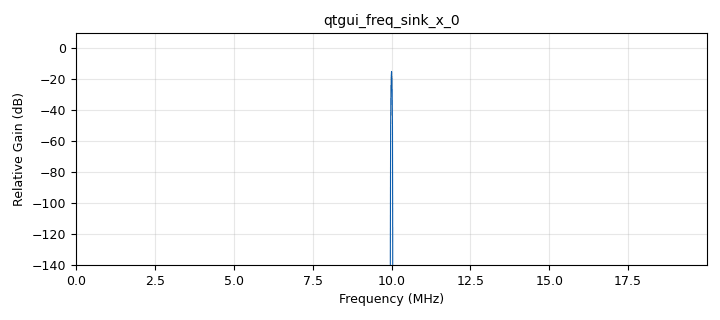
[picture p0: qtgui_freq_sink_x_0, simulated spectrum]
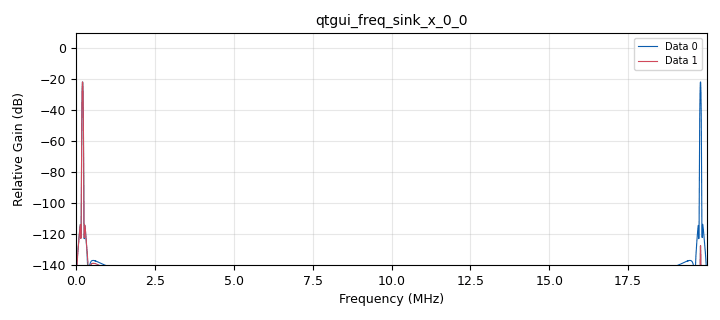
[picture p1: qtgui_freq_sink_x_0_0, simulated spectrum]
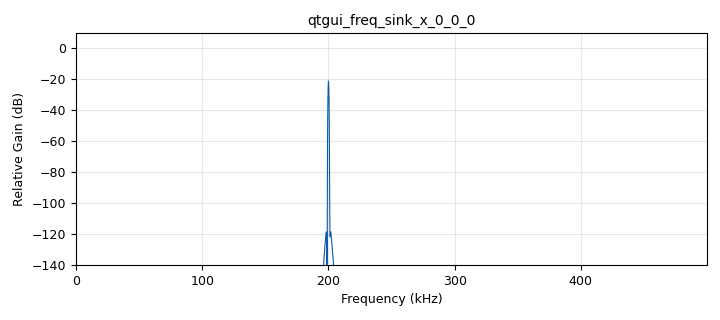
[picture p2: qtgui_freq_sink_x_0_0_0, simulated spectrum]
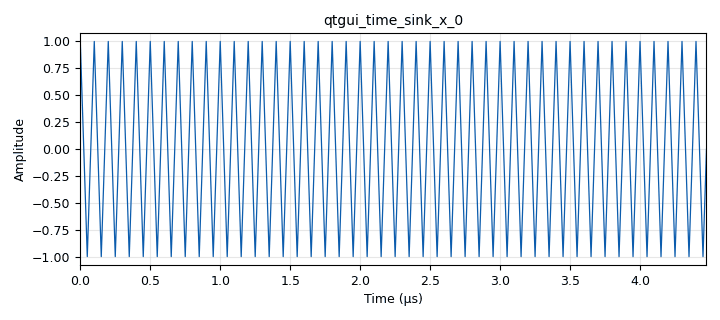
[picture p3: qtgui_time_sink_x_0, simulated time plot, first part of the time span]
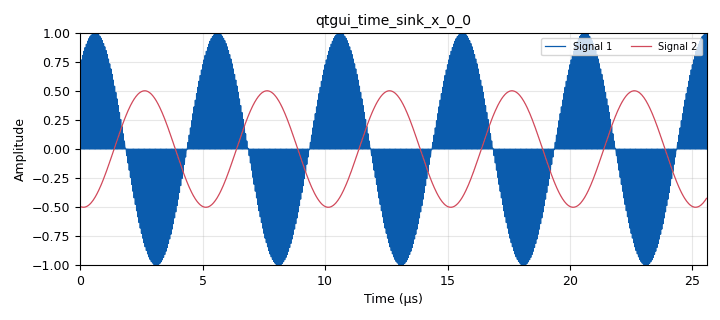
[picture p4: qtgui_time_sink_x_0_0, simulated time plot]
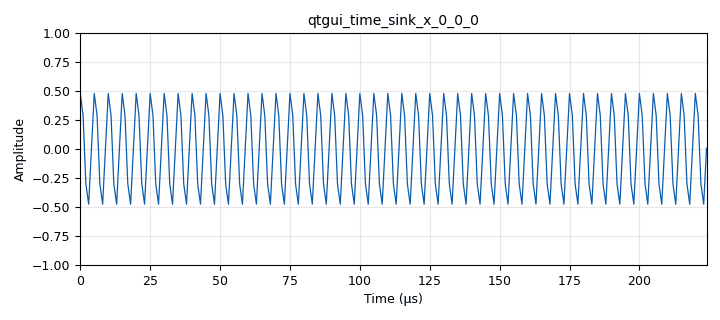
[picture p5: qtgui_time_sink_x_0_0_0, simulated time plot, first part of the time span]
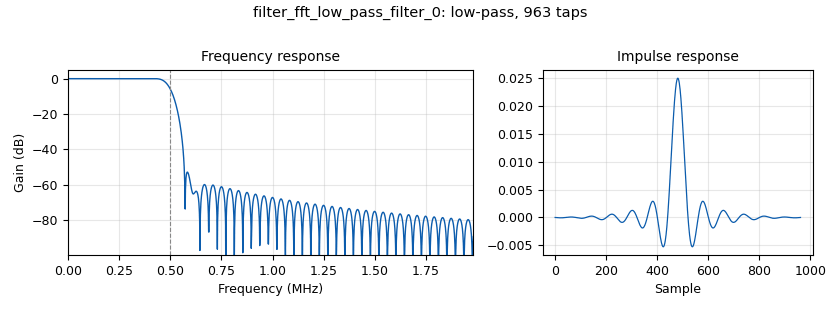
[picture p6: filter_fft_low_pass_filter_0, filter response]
options:
  parameters:
    generate_options: qt_gui
    id: real_sampling_2
    output_language: python
    title: real_sasmpling_2
  states: {}

blocks:
- name: lo_freq
  id: variable_qtgui_entry
  parameters:
    label: Local oscillator (LO) frequency (MHz)
    type: real
    value: '9.8'
  states: {}
- name: samp_rate
  id: variable
  parameters:
    value: '40000000'
  states: {}
- name: tone_freq
  id: variable_qtgui_entry
  parameters:
    label: Tone Frequency (MHz)
    type: real
    value: '10'
  states: {}
- name: analog_sig_source_x_0
  id: analog_sig_source_x
  parameters:
    amp: '1'
    freq: tone_freq*1e6
    offset: '0'
    phase: '0'
    samp_rate: samp_rate
    type: float
    waveform: analog.GR_COS_WAVE
  states: {}
- name: analog_sig_source_x_1
  id: analog_sig_source_x
  parameters:
    amp: '1'
    freq: lo_freq*1e6
    offset: '0'
    phase: '0'
    samp_rate: samp_rate
    type: float
    waveform: analog.GR_COS_WAVE
  states: {}
- name: blocks_keep_one_in_n_0
  id: blocks_keep_one_in_n
  parameters:
    comment: Represents ADC in LimeSDR
    n: '40'
    type: float
  states: {}
- name: blocks_multiply_xx_0
  id: blocks_multiply_xx
  parameters:
    type: float
  states: {}
- name: blocks_throttle2_0
  id: blocks_throttle2
  parameters:
    samples_per_second: samp_rate
    type: float
  states: {}
- name: filter_fft_low_pass_filter_0
  id: filter_fft_low_pass_filter
  parameters:
    cutoff_freq: .5e6
    decim: '1'
    gain: '1'
    samp_rate: samp_rate
    type: fff
    width: 100e3
    win: window.WIN_HAMMING
  states: {}
- name: qtgui_freq_sink_x_0
  id: qtgui_freq_sink_x
  parameters:
    bw: samp_rate
    fc: '0'
    fftsize: '4096'
    freqhalf: 'False'
    gui_hint: tab@0
    type: float
  states: {}
- name: qtgui_freq_sink_x_0_0
  id: qtgui_freq_sink_x
  parameters:
    bw: samp_rate
    fc: '0'
    fftsize: '4096'
    freqhalf: 'False'
    gui_hint: tab@1
    nconnections: '2'
    type: float
  states: {}
- name: qtgui_freq_sink_x_0_0_0
  id: qtgui_freq_sink_x
  parameters:
    bw: samp_rate/40
    fc: '0'
    fftsize: '4096'
    freqhalf: 'False'
    gui_hint: tab@2
    type: float
  states: {}
- name: qtgui_time_sink_x_0
  id: qtgui_time_sink_x
  parameters:
    gui_hint: tab@0
    size: '1024'
    srate: samp_rate
    type: float
  states: {}
- name: qtgui_time_sink_x_0_0
  id: qtgui_time_sink_x
  parameters:
    gui_hint: tab@1
    nconnections: '2'
    size: '1024'
    srate: samp_rate
    type: float
  states: {}
- name: qtgui_time_sink_x_0_0_0
  id: qtgui_time_sink_x
  parameters:
    gui_hint: tab@2
    size: '1024'
    srate: samp_rate/40
    type: float
  states: {}
- name: tab
  id: qtgui_tab_widget
  parameters:
    label0: Input RF signal
    label1: IF signal
    label2: ADC output
    num_tabs: '3'
  states: {}

connections:
- [analog_sig_source_x_0, '0', blocks_throttle2_0, '0']
- [analog_sig_source_x_1, '0', blocks_multiply_xx_0, '1']
- [blocks_keep_one_in_n_0, '0', qtgui_freq_sink_x_0_0_0, '0']
- [blocks_keep_one_in_n_0, '0', qtgui_time_sink_x_0_0_0, '0']
- [blocks_multiply_xx_0, '0', filter_fft_low_pass_filter_0, '0']
- [blocks_multiply_xx_0, '0', qtgui_freq_sink_x_0_0, '0']
- [blocks_multiply_xx_0, '0', qtgui_time_sink_x_0_0, '0']
- [blocks_throttle2_0, '0', blocks_multiply_xx_0, '0']
- [blocks_throttle2_0, '0', qtgui_freq_sink_x_0, '0']
- [blocks_throttle2_0, '0', qtgui_time_sink_x_0, '0']
- [filter_fft_low_pass_filter_0, '0', blocks_keep_one_in_n_0, '0']
- [filter_fft_low_pass_filter_0, '0', qtgui_freq_sink_x_0_0, '1']
- [filter_fft_low_pass_filter_0, '0', qtgui_time_sink_x_0_0, '1']

metadata:
  file_format: 1
  grc_version: 3.10.12.0
